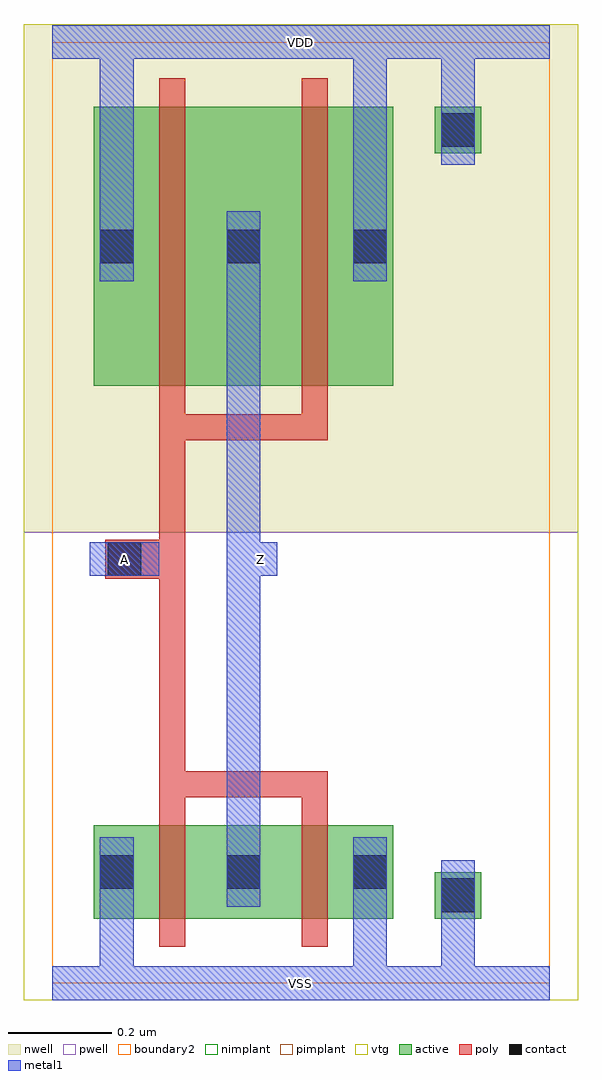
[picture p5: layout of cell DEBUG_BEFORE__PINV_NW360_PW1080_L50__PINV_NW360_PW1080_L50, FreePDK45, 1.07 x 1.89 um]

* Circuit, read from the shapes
.subckt DEBUG_BEFORE__PINV_NW360_PW1080_L50__PINV_NW360_PW1080_L50 A VDD VSS Z
M1 Z A VSS VSS nfet w=0.18u l=0.05u m=2
M2 Z A VDD VDD pfet w=0.54u l=0.05u m=2
.ends

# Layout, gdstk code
import gdstk
lib = gdstk.Library(unit=1e-6, precision=5e-10)
def R(c, l, rs):  # rectangles x0, y0, x1, y1
    for r in rs: c.add(gdstk.rectangle(r[:2], r[2:], *l))
def A(c, l, x, y, w, h, nx, ny, dx, dy):  # array of equal rectangles
    R(c, l, [(x+i*dx, y+j*dy, x+i*dx+w, y+j*dy+h) for i in range(nx) for j in range(ny)])
active = (1, 0)
pwell = (2, 0)
nwell = (3, 0)
nimplant = (4, 0)
pimplant = (5, 0)
vtg = (6, 0)
poly = (9, 0)
contact = (10, 0)
metal1 = (11, 0)
boundary2 = (239, 0)

debug_before__pinv_nw360 = lib.new_cell('DEBUG_BEFORE__PINV_NW360_PW1080_L50__TRANSMISSION_GATE_NW250_PW500_L50_contact_8')
R(debug_before__pinv_nw360, active, [(0,0.0225,0.09,0.1125)])
R(debug_before__pinv_nw360, nwell, [(-0.055,-0.0325,0.145,0.1675)])
R(debug_before__pinv_nw360, pimplant, [(0,0.0225,0.09,0.1125)])
R(debug_before__pinv_nw360, contact, [(0.0125,0.035,0.0775,0.1)])
R(debug_before__pinv_nw360, metal1, [(0.0125,0,0.0775,0.135)])
R(debug_before__pinv_nw360, boundary2, [(-0.055,-0.0325,0.145,0.1675)])

c_debug_before__pinv_nw360 = lib.new_cell('DEBUG_BEFORE__PINV_NW360_PW1080_L50__PINV_NW360_PW1080_L50_pmos_m2_w0_540_sm1_dm1_da_p')
R(c_debug_before__pinv_nw360, active, [(0,0,0.58,0.54)])
R(c_debug_before__pinv_nw360, nwell, [(-0.08,-0.08,0.66,0.62)])
R(c_debug_before__pinv_nw360, pimplant, [(0,0,0.58,0.54)])
R(c_debug_before__pinv_nw360, vtg, [(-0.08,-0.08,0.66,0.62)])
R(c_debug_before__pinv_nw360, poly, [(0.1275,-0.105,0.4525,-0.055), (0.1275,-0.055,0.1775,0.595), (0.4025,-0.055,0.4525,0.595)])
A(c_debug_before__pinv_nw360, metal1, 0.0125, 0.2025, 0.065, 0.135, 3, 1, 0.245, 0)
R(c_debug_before__pinv_nw360, boundary2, [(-0.08,-0.105,0.66,0.62)])
c_debug_before__pinv_nw360.add(gdstk.Reference(debug_before__pinv_nw360, (0,0.2025)))
c_debug_before__pinv_nw360.add(gdstk.Reference(debug_before__pinv_nw360, (0.245,0.2025)))
c_debug_before__pinv_nw360.add(gdstk.Reference(debug_before__pinv_nw360, (0.49,0.2025)))
c_debug_before__pinv_nw360.add(gdstk.Label('G', (0.29,-0.08), layer=9, texttype=0))
c_debug_before__pinv_nw360.add(gdstk.Label('S', (0.535,0.27), layer=11, texttype=0))
c_debug_before__pinv_nw360.add(gdstk.Label('S', (0.045,0.27), layer=11, texttype=0))
c_debug_before__pinv_nw360.add(gdstk.Label('D', (0.29,0.27), layer=11, texttype=0))

c_debug_before__pinv_nw360_ = lib.new_cell('DEBUG_BEFORE__PINV_NW360_PW1080_L50__TRANSMISSION_GATE_NW250_PW500_L50_contact_7')
R(c_debug_before__pinv_nw360_, active, [(0,0.0225,0.09,0.1125)])
R(c_debug_before__pinv_nw360_, pwell, [(-0.055,-0.0325,0.145,0.1675)])
R(c_debug_before__pinv_nw360_, nimplant, [(0,0.0225,0.09,0.1125)])
R(c_debug_before__pinv_nw360_, contact, [(0.0125,0.035,0.0775,0.1)])
R(c_debug_before__pinv_nw360_, metal1, [(0.0125,0,0.0775,0.135)])
R(c_debug_before__pinv_nw360_, boundary2, [(-0.055,-0.0325,0.145,0.1675)])

c_debug_before__pinv_nw360__ = lib.new_cell('DEBUG_BEFORE__PINV_NW360_PW1080_L50__PINV_NW360_PW1080_L50_nmos_m2_w0_180_sm1_dm1_da_p')
R(c_debug_before__pinv_nw360__, active, [(0,0,0.58,0.18)])
R(c_debug_before__pinv_nw360__, pwell, [(-0.08,-0.08,0.66,0.26)])
R(c_debug_before__pinv_nw360__, nimplant, [(0,0,0.58,0.18)])
R(c_debug_before__pinv_nw360__, vtg, [(-0.08,-0.08,0.66,0.26)])
R(c_debug_before__pinv_nw360__, poly, [(0.1275,-0.055,0.1775,0.235), (0.4025,-0.055,0.4525,0.235), (0.1275,0.235,0.4525,0.285)])
A(c_debug_before__pinv_nw360__, metal1, 0.0125, 0.0225, 0.065, 0.135, 3, 1, 0.245, 0)
R(c_debug_before__pinv_nw360__, boundary2, [(-0.08,-0.08,0.66,0.285)])
c_debug_before__pinv_nw360__.add(gdstk.Reference(c_debug_before__pinv_nw360_, (0,0.0225)))
c_debug_before__pinv_nw360__.add(gdstk.Reference(c_debug_before__pinv_nw360_, (0.245,0.0225)))
c_debug_before__pinv_nw360__.add(gdstk.Reference(c_debug_before__pinv_nw360_, (0.49,0.0225)))
c_debug_before__pinv_nw360__.add(gdstk.Label('G', (0.29,0.26), layer=9, texttype=0))
c_debug_before__pinv_nw360__.add(gdstk.Label('S', (0.535,0.09), layer=11, texttype=0))
c_debug_before__pinv_nw360__.add(gdstk.Label('S', (0.045,0.09), layer=11, texttype=0))
c_debug_before__pinv_nw360__.add(gdstk.Label('D', (0.29,0.09), layer=11, texttype=0))

c_debug_before__pinv_nw360___ = lib.new_cell('DEBUG_BEFORE__PINV_NW360_PW1080_L50__TRANSMISSION_GATE_NW250_PW500_L50_contact_9')
R(c_debug_before__pinv_nw360___, active, [(0,0.0225,0.09,0.1125)])
R(c_debug_before__pinv_nw360___, nwell, [(-0.055,-0.0325,0.145,0.1675)])
R(c_debug_before__pinv_nw360___, nimplant, [(0,0.0225,0.09,0.1125)])
R(c_debug_before__pinv_nw360___, contact, [(0.0125,0.035,0.0775,0.1)])
R(c_debug_before__pinv_nw360___, metal1, [(0.0125,0,0.0775,0.135)])
R(c_debug_before__pinv_nw360___, boundary2, [(-0.055,-0.0325,0.145,0.1675)])

c_debug_before__pinv_nw360____ = lib.new_cell('DEBUG_BEFORE__PINV_NW360_PW1080_L50__TRANSMISSION_GATE_NW250_PW500_L50_contact_10')
R(c_debug_before__pinv_nw360____, active, [(0,0.0225,0.09,0.1125)])
R(c_debug_before__pinv_nw360____, pwell, [(-0.055,-0.0325,0.145,0.1675)])
R(c_debug_before__pinv_nw360____, pimplant, [(0,0.0225,0.09,0.1125)])
R(c_debug_before__pinv_nw360____, contact, [(0.0125,0.035,0.0775,0.1)])
R(c_debug_before__pinv_nw360____, metal1, [(0.0125,0,0.0775,0.135)])
R(c_debug_before__pinv_nw360____, boundary2, [(-0.055,-0.0325,0.145,0.1675)])

c_debug_before__pinv_nw360_____ = lib.new_cell('DEBUG_BEFORE__PINV_NW360_PW1080_L50__PINV_NW180_PW270_L50_contact_11')
R(c_debug_before__pinv_nw360_____, poly, [(0.03,0,0.105,0.075)])
R(c_debug_before__pinv_nw360_____, contact, [(0.035,0.005,0.1,0.07)])
R(c_debug_before__pinv_nw360_____, metal1, [(0,0.005,0.135,0.07)])
R(c_debug_before__pinv_nw360_____, boundary2, [(0,0,0.135,0.075)])

c_debug_before__pinv_nw360______ = lib.new_cell('DEBUG_BEFORE__PINV_NW360_PW1080_L50__PINV_NW360_PW1080_L50_core')
R(c_debug_before__pinv_nw360______, pwell, [(-0.055,-0.0325,1.0175,0.8725)])
R(c_debug_before__pinv_nw360______, nwell, [(-0.055,0.8725,1.0175,1.855)])
R(c_debug_before__pinv_nw360______, vtg, [(-0.055,-0.0325,1.0175,0.8725), (-0.055,0.8725,1.0175,1.855)])
R(c_debug_before__pinv_nw360______, poly, [(0.2075,0.41,0.2575,1.05), (0.14,0.7825,0.2075,0.8575)])
R(c_debug_before__pinv_nw360______, metal1, [(0,-0.0325,0.9625,0.0325), (0.0925,-0.0325,0.1575,0.1475), (0.5825,-0.0325,0.6475,0.1475), (0.7525,0,0.8175,0.17), (0.3375,0.1475,0.4025,1.4925), (0.0725,0.7875,0.2075,0.8525), (0.37,0.7875,0.435,0.8525), (0.0925,1.3575,0.1575,1.8525), (0.5825,1.3575,0.6475,1.8525), (0.7525,1.65,0.8175,1.82), (0,1.7875,0.9625,1.8525)])
R(c_debug_before__pinv_nw360______, boundary2, [(0,0,0.9625,1.82), (0,0,0.9625,1.82)])
c_debug_before__pinv_nw360______.add(gdstk.Reference(c_debug_before__pinv_nw360, (0.08,1.155)))
c_debug_before__pinv_nw360______.add(gdstk.Reference(c_debug_before__pinv_nw360__, (0.08,0.125)))
c_debug_before__pinv_nw360______.add(gdstk.Reference(c_debug_before__pinv_nw360___, (0.74,1.5825)))
c_debug_before__pinv_nw360______.add(gdstk.Reference(c_debug_before__pinv_nw360____, (0.74,0.1025)))
c_debug_before__pinv_nw360______.add(gdstk.Reference(c_debug_before__pinv_nw360_____, (0.0725,0.7825)))
c_debug_before__pinv_nw360______.add(gdstk.Label('A', (0.14,0.82), layer=11, texttype=0))
c_debug_before__pinv_nw360______.add(gdstk.Label('Z', (0.4025,0.82), layer=11, texttype=0))
c_debug_before__pinv_nw360______.add(gdstk.Label('gnd', (0.481,0), layer=11, texttype=0))
c_debug_before__pinv_nw360______.add(gdstk.Label('vdd', (0.481,1.82), layer=11, texttype=0))

c_debug_before__pinv_nw360_______ = lib.new_cell('DEBUG_BEFORE__PINV_NW360_PW1080_L50__PINV_NW360_PW1080_L50')
R(c_debug_before__pinv_nw360_______, metal1, [(0,-0.0325,0.9625,0.0325), (0.0725,0.7875,0.2075,0.8525), (0.37,0.7875,0.435,0.8525), (0,1.7875,0.9625,1.8525)])
R(c_debug_before__pinv_nw360_______, boundary2, [(0,0,0.9625,1.82)])
c_debug_before__pinv_nw360_______.add(gdstk.Reference(c_debug_before__pinv_nw360______, (0,0)))
c_debug_before__pinv_nw360_______.add(gdstk.Label('A', (0.14,0.82), layer=11, texttype=0))
c_debug_before__pinv_nw360_______.add(gdstk.Label('Z', (0.4025,0.82), layer=11, texttype=0))
c_debug_before__pinv_nw360_______.add(gdstk.Label('VDD', (0.481,1.82), layer=11, texttype=0))
c_debug_before__pinv_nw360_______.add(gdstk.Label('VSS', (0.481,0), layer=11, texttype=0))

lib.write_gds('DEBUG_BEFORE__PINV_NW360_PW1080_L50__PINV_NW360_PW1080_L50.gds')
